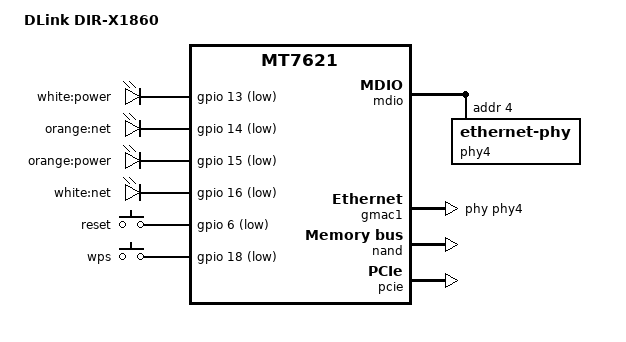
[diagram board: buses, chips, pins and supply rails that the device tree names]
/dts-v1/;

#include "mt7621.dtsi"
#include <dt-bindings/input/input.h>

/ {
	compatible = "dlink,dir-x1860", "mediatek,mt7621-soc";
	model = "DLink DIR-X1860";

	chosen {
		bootargs-override = "console=ttyS0,115200";
	};

	aliases {
		label-mac-device = &gmac0;
		led-boot = &led_power_orange;
		led-failsafe = &led_power_white;
		led-running = &led_power_white;
		led-upgrade = &led_net_orange;
	};

	gpio-leds {
		compatible = "gpio-leds";

		led_power_white: power_white {
			label = "white:power";
			gpios = <&gpio 13 GPIO_ACTIVE_LOW>;
		};

		led_net_orange: net_orange {
			label = "orange:net";
			gpios = <&gpio 14 GPIO_ACTIVE_LOW>;
		};

		led_power_orange: power_orange {
			label = "orange:power";
			gpios = <&gpio 15 GPIO_ACTIVE_LOW>;
		};

		led_net_white {
			label = "white:net";
			gpios = <&gpio 16 GPIO_ACTIVE_LOW>;
		};
	};

	keys {
		compatible = "gpio-keys";

		reset {
			label = "reset";
			gpios = <&gpio 6 GPIO_ACTIVE_LOW>;
			linux,code = <KEY_RESTART>;
		};

		wps {
			label = "wps";
			linux,code = <KEY_WPS_BUTTON>;
			gpios = <&gpio 18 GPIO_ACTIVE_LOW>;
		};
	};
};

&mdio {
	phy4: ethernet-phy@4 {
		reg = <4>;
	};
};

&gmac1 {
	status = "okay";
	phy-handle = <&phy4>;
};

&switch0 {
	ports {
		port@0 {
			status = "okay";
			label = "lan4";
		};

		port@1 {
			status = "okay";
			label = "lan3";
		};

		port@2 {
			status = "okay";
			label = "lan2";
		};

		port@3 {
			status = "okay";
			label = "lan1";
		};
	};
};

&nand {
	status = "okay";

	partitions {
		compatible = "fixed-partitions";
		#address-cells = <1>;
		#size-cells = <1>;

		partition@0 {
			label = "u-boot";
			reg = <0x00000 0x80000>;
			read-only;
		};

		partition@80000 {
			label = "u-boot-env";
			reg = <0x80000 0x80000>;
		};

		factory: partition@100000 {
			label = "factory";
			reg = <0x100000 0x80000>;
		};

		partition@180000 {
			label = "kernel";
			reg = <0x180000 0x400000>;
		};

		partition@580000 {
			label = "ubi";
			reg = <0x580000 0x2b00000>;
		};

		partition@2c80000 {
			label = "firmware2";
			reg = <0x2c80000 0x2b00000>;
		};

		partition@5780000 {
			label = "Devdata";
			reg = <0x5780000 0x800000>;
		};

		partition@5f80000 {
			label = "User_data";
			reg = <0x5f80000 0x2000000>;
		};
	};
};

&state_default {
	gpio {
		groups = "i2c", "uart3", "jtag", "wdt";
		function = "gpio";
	};
};

&pcie {
	status = "okay";
};

&pcie1 {
	mt76@0,0 {
		reg = <0x0000 0 0 0 0>;
		mediatek,mtd-eeprom = <&factory 0x0000>;
	};
};
